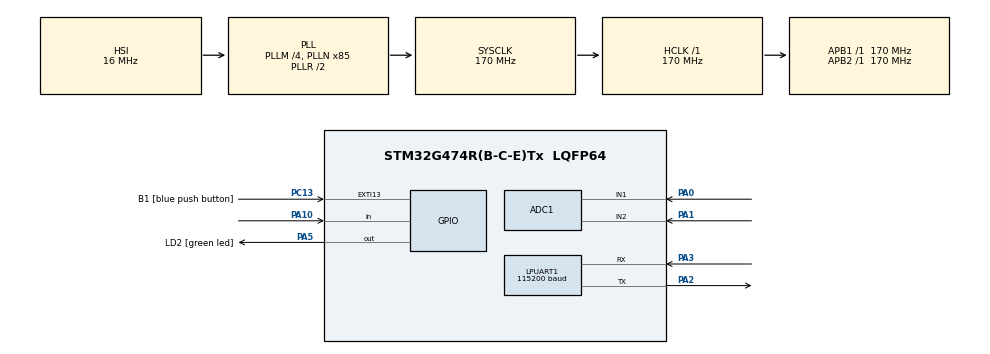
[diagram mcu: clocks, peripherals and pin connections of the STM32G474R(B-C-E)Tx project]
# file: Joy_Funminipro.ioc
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ADC1.Channel-0\#ChannelRegularConversion=ADC_CHANNEL_1
ADC1.Channel-1\#ChannelRegularConversion=ADC_CHANNEL_2
ADC1.ContinuousConvMode=ENABLE
ADC1.DMAContinuousRequests=ENABLE
ADC1.NbrOfConversion=2
ADC1.NbrOfConversionFlag=1
ADC1.OffsetNumber-0\#ChannelRegularConversion=ADC_OFFSET_NONE
ADC1.OffsetNumber-1\#ChannelRegularConversion=ADC_OFFSET_NONE
ADC1.Rank-0\#ChannelRegularConversion=1
ADC1.Rank-1\#ChannelRegularConversion=2
ADC1.SamplingTime-0\#ChannelRegularConversion=ADC_SAMPLETIME_640CYCLES_5
ADC1.SamplingTime-1\#ChannelRegularConversion=ADC_SAMPLETIME_640CYCLES_5
ADC1.master=1
Dma.ADC1.0.Direction=DMA_PERIPH_TO_MEMORY
Dma.ADC1.0.EventEnable=DISABLE
Dma.ADC1.0.Instance=DMA1_Channel1
Dma.ADC1.0.MemDataAlignment=DMA_MDATAALIGN_HALFWORD
Dma.ADC1.0.MemInc=DMA_MINC_ENABLE
Dma.ADC1.0.Mode=DMA_CIRCULAR
Dma.ADC1.0.PeriphDataAlignment=DMA_PDATAALIGN_HALFWORD
Dma.ADC1.0.PeriphInc=DMA_PINC_DISABLE
Dma.ADC1.0.Polarity=HAL_DMAMUX_REQ_GEN_RISING
Dma.ADC1.0.Priority=DMA_PRIORITY_LOW
Dma.ADC1.0.RequestNumber=1
Dma.ADC1.0.SignalID=NONE
Dma.ADC1.0.SyncEnable=DISABLE
Dma.ADC1.0.SyncPolarity=HAL_DMAMUX_SYNC_NO_EVENT
Dma.ADC1.0.SyncRequestNumber=1
Dma.ADC1.0.SyncSignalID=NONE
Dma.LPUART1_RX.1.Direction=DMA_PERIPH_TO_MEMORY
Dma.LPUART1_RX.1.EventEnable=DISABLE
Dma.LPUART1_RX.1.Instance=DMA1_Channel2
Dma.LPUART1_RX.1.MemDataAlignment=DMA_MDATAALIGN_BYTE
Dma.LPUART1_RX.1.MemInc=DMA_MINC_ENABLE
Dma.LPUART1_RX.1.Mode=DMA_CIRCULAR
Dma.LPUART1_RX.1.PeriphDataAlignment=DMA_PDATAALIGN_BYTE
Dma.LPUART1_RX.1.PeriphInc=DMA_PINC_DISABLE
Dma.LPUART1_RX.1.Polarity=HAL_DMAMUX_REQ_GEN_RISING
Dma.LPUART1_RX.1.Priority=DMA_PRIORITY_VERY_HIGH
Dma.LPUART1_RX.1.RequestNumber=1
Dma.LPUART1_RX.1.SignalID=NONE
Dma.LPUART1_RX.1.SyncEnable=DISABLE
Dma.LPUART1_RX.1.SyncPolarity=HAL_DMAMUX_SYNC_NO_EVENT
Dma.LPUART1_RX.1.SyncRequestNumber=1
Dma.LPUART1_RX.1.SyncSignalID=NONE
Dma.LPUART1_TX.2.Direction=DMA_MEMORY_TO_PERIPH
Dma.LPUART1_TX.2.EventEnable=DISABLE
Dma.LPUART1_TX.2.Instance=DMA1_Channel3
Dma.LPUART1_TX.2.MemDataAlignment=DMA_MDATAALIGN_BYTE
Dma.LPUART1_TX.2.MemInc=DMA_MINC_ENABLE
Dma.LPUART1_TX.2.Mode=DMA_NORMAL
Dma.LPUART1_TX.2.PeriphDataAlignment=DMA_PDATAALIGN_BYTE
Dma.LPUART1_TX.2.PeriphInc=DMA_PINC_DISABLE
Dma.LPUART1_TX.2.Polarity=HAL_DMAMUX_REQ_GEN_RISING
Dma.LPUART1_TX.2.Priority=DMA_PRIORITY_VERY_HIGH
Dma.LPUART1_TX.2.RequestNumber=1
Dma.LPUART1_TX.2.SignalID=NONE
Dma.LPUART1_TX.2.SyncEnable=DISABLE
Dma.LPUART1_TX.2.SyncPolarity=HAL_DMAMUX_SYNC_NO_EVENT
Dma.LPUART1_TX.2.SyncRequestNumber=1
Dma.LPUART1_TX.2.SyncSignalID=NONE
Dma.Request0=ADC1
Dma.Request1=LPUART1_RX
Dma.Request2=LPUART1_TX
FREERTOS.Tasks01=defaultTask,24,3000,StartDefaultTask,As weak,NULL,Static,defaultTaskBuffer,defaultTaskControlBlock
FREERTOS.configENABLE_FPU=1
IWDG.Reload=2499
LPUART1.BaudRate=115200
Mcu.Family=STM32G4
Mcu.Name=STM32G474R(B-C-E)Tx
Mcu.Package=LQFP64
NVIC.DMA1_Channel1_IRQn=true\:5\:0\:false\:false\:true\:true\:false\:true\:true
NVIC.DMA1_Channel2_IRQn=true\:5\:0\:false\:false\:true\:true\:false\:true\:true
NVIC.DMA1_Channel3_IRQn=true\:5\:0\:false\:false\:true\:true\:false\:true\:true
NVIC.EXTI15_10_IRQn=true\:5\:0\:false\:false\:true\:true\:true\:true\:true
NVIC.LPUART1_IRQn=true\:5\:0\:false\:false\:true\:true\:true\:true\:true
NVIC.PriorityGroup=NVIC_PRIORITYGROUP_4
PA0.Mode=IN1-Single-Ended
PA0.Signal=ADC1_IN1
PA1.Mode=IN2-Single-Ended
PA1.Signal=ADC1_IN2
PA10.GPIO_PuPd=GPIO_PULLUP
PA10.Signal=GPIO_Input
PA13.GPIO_Label=T_SWDIO
PA13.Signal=SYS_JTMS-SWDIO
PA14.GPIO_Label=T_SWCLK
PA14.Signal=SYS_JTCK-SWCLK
PA2.GPIO_Mode=GPIO_MODE_AF_PP
PA2.GPIO_PuPd=GPIO_NOPULL
PA2.GPIO_Speed=GPIO_SPEED_FREQ_LOW
PA2.Mode=Asynchronous
PA2.Signal=LPUART1_TX
PA3.GPIO_Mode=GPIO_MODE_AF_PP
PA3.GPIO_PuPd=GPIO_NOPULL
PA3.GPIO_Speed=GPIO_SPEED_FREQ_LOW
PA3.Mode=Asynchronous
PA3.Signal=LPUART1_RX
PA5.GPIO_Label=LD2 [green led]
PA5.Signal=GPIO_Output
PB3.GPIO_Label=T_SWO
PB3.Signal=SYS_JTDO-SWO
PC13.GPIO_Label=B1 [blue push button]
PC13.Signal=GPXTI13
PC14-OSC32_IN.GPIO_Label=RCC_OSC32_IN
PC14-OSC32_IN.Signal=RCC_OSC32_IN
PC15-OSC32_OUT.GPIO_Label=RCC_OSC32_OUT
PC15-OSC32_OUT.Signal=RCC_OSC32_OUT
PF0-OSC_IN.GPIO_Label=RCC_OSC_IN
PF0-OSC_IN.Signal=RCC_OSC_IN
PF1-OSC_OUT.GPIO_Label=RCC_OSC_OUT
PF1-OSC_OUT.Signal=RCC_OSC_OUT
ProjectManager.HeapSize=0x200
ProjectManager.StackSize=0x400
ProjectManager.TargetToolchain=STM32CubeIDE
RCC.ADC12Freq_Value=170000000
RCC.ADC345Freq_Value=170000000
RCC.AHBFreq_Value=170000000
RCC.APB1Freq_Value=170000000
RCC.APB1TimFreq_Value=170000000
RCC.APB2Freq_Value=170000000
RCC.APB2TimFreq_Value=170000000
RCC.CortexFreq_Value=170000000
RCC.EXTERNAL_CLOCK_VALUE=12288000
RCC.HCLKFreq_Value=170000000
RCC.HSE_VALUE=24000000
RCC.HSI48_VALUE=48000000
RCC.HSI_VALUE=16000000
RCC.LSE_VALUE=32768
RCC.PLLM=RCC_PLLM_DIV4
RCC.PLLN=85
RCC.RTCClockSelection=RCC_RTCCLKSOURCE_LSE
RCC.SYSCLKFreq_VALUE=170000000
RCC.SYSCLKSource=RCC_SYSCLKSOURCE_PLLCLK
RCC.USBFreq_Value=170000000
RCC.VCOOutputFreq_Value=340000000
VP_FREERTOS_VS_CMSIS_V2.Mode=CMSIS_V2
VP_IWDG_VS_IWDG.Mode=IWDG_Activate
VP_SYS_VS_DBSignals.Mode=DisableDeadBatterySignals
board=NUCLEO-G474RE

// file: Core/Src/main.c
/* USER CODE BEGIN Header */
/**
  ******************************************************************************
  * @file           : main.c
  * @brief          : Main program body
  ******************************************************************************
  * @attention
  *
  * Copyright (c) 2024 STMicroelectronics.
  * All rights reserved.
  *
  * This software is licensed under terms that can be found in the LICENSE file
  * in the root directory of this software component.
  * If no LICENSE file comes with this software, it is provided AS-IS.
  *
  ******************************************************************************
  */
/* USER CODE END Header */
#include "main.h"
#include "cmsis_os.h"
#include "adc.h"
#include "dma.h"
#include "iwdg.h"
#include "usart.h"
#include "gpio.h"

/* USER CODE BEGIN Includes */
#include <rcl/rcl.h>
#include <rcl/error_handling.h>
#include <rclc/rclc.h>
#include <rclc/executor.h>
#include <uxr/client/transport.h>
#include <rmw_microxrcedds_c/config.h>
#include <rmw_microros/rmw_microros.h>
#include <math.h>
#include <geometry_msgs/msg/twist.h>
#include <fun5mini_interfaces/srv/eat_call.h>

/* USER CODE END Includes */

/* USER CODE BEGIN PM */
#define RCSOFTCHECK(fn) if (fn != RCL_RET_OK) {};
/* USER CODE END PM */

/* USER CODE BEGIN PV */
rcl_init_options_t init_options;
rclc_support_t support;
rcl_allocator_t allocator;
rcl_node_t node;
rcl_timer_t timer;
rclc_executor_t executor;

/* Service Client*/
rcl_client_t eat_client;

/* pub */
rcl_publisher_t cmdvel_publisher;

/* Massage */
geometry_msgs__msg__Twist twist_msg;

fun5mini_interfaces__srv__EatCall_Request eat_request;

/* Start Joy Parameter */
uint16_t ADC_RawRead[200] = { 0 };
uint16_t x_axis = 0;
uint16_t y_axis = 0;

float linear_velocity = 0.0f;
float angular_velocity = 0.0f;

/* button */
GPIO_PinState bButtonState = GPIO_PIN_RESET;
GPIO_PinState bPrevButton = GPIO_PIN_RESET;

/* End Joy Parameter */

/* USER CODE END PV */

void SystemClock_Config(void);
void MX_FREERTOS_Init(void);
/* USER CODE BEGIN PFP */

/* Start MicroRos Function*/
bool cubemx_transport_open(struct uxrCustomTransport *transport);
bool cubemx_transport_close(struct uxrCustomTransport *transport);
size_t cubemx_transport_write(struct uxrCustomTransport *transport, const uint8_t *buf, size_t len, uint8_t *err);
size_t cubemx_transport_read(struct uxrCustomTransport *transport, uint8_t *buf, size_t len, int timeout, uint8_t *err);

void* microros_allocate(size_t size, void *state);
void microros_deallocate(void *pointer, void *state);
void* microros_reallocate(void *pointer, size_t size, void *state);
void* microros_zero_allocate(size_t number_of_elements, size_t size_of_element, void *state);
/* End MicroRos Function*/

/* Start my function */

void ReadADC_AVERAGE();
void SentCMDVEL();

/* End my function*/

/* USER CODE END PFP */

/* USER CODE BEGIN 0 */
void timer_callback(rcl_timer_t *timer, int64_t last_call_time) {
	if (timer != NULL) {
		/* Code here*/
		ReadADC_AVERAGE();
		SentCMDVEL();

		HAL_IWDG_Refresh(&hiwdg);
	}
}

void StartDefaultTask(void *argument)
{
  /* USER CODE BEGIN 5 */

  // micro-ROS configuration

  rmw_uros_set_custom_transport(
    true,
    (void *) &hlpuart1,
    cubemx_transport_open,
    cubemx_transport_close,
    cubemx_transport_write,
    cubemx_transport_read);

  rcl_allocator_t freeRTOS_allocator = rcutils_get_zero_initialized_allocator();
  freeRTOS_allocator.allocate = microros_allocate;
  freeRTOS_allocator.deallocate = microros_deallocate;
  freeRTOS_allocator.reallocate = microros_reallocate;
  freeRTOS_allocator.zero_allocate =  microros_zero_allocate;

  if (!rcutils_set_default_allocator(&freeRTOS_allocator)) {
      printf("Error on default allocators (line %d)\n", __LINE__);
  }

  // micro-ROS app
  allocator = rcl_get_default_allocator();

  //create init_options
  init_options = rcl_get_zero_initialized_init_options();
  RCSOFTCHECK(rcl_init_options_init(&init_options, allocator));
  RCSOFTCHECK(rcl_init_options_set_domain_id(&init_options, 26)); //Set Domain ID

  //create init_options
  rclc_support_init_with_options(
  			&support, 0,
  			NULL,
  			&init_options,
  			&allocator
  	);

  // create node
  	rclc_node_init_default(
  			&node,
  			"cubemx_node",
  			"ling",
  			&support
  	); //Node name

  	// create cmd_vel publisher
  	rclc_publisher_init_default(
  			&cmdvel_publisher,
  			&node,
  			ROSIDL_GET_MSG_TYPE_SUPPORT(geometry_msgs, msg, Twist),
  			"cmd_vel"
  		);

  	rclc_client_init_default(
  			&eat_client,
  			&node,
  			ROSIDL_GET_SRV_TYPE_SUPPORT(fun5mini_interfaces, srv, EatCall),
  			"call_eat"
  		);

  	// create Timer
  	rclc_timer_init_default(
  			&timer, &support,
  			RCL_MS_TO_NS(10),
  			timer_callback
  		);

  	// create executer
  	executor = rclc_executor_get_zero_initialized_executor();
  	rclc_executor_init(&executor, &support.context, 1, &allocator);
  	rclc_executor_add_timer(&executor, &timer);
  	rclc_executor_spin(&executor); //ต้องเรียกก่อนถึงจะเริ่มทำงาน

  for(;;)
  {
    osDelay(10);
  }
  /* USER CODE END 5 */
}
/* USER CODE END 0 */

int main(void)
{

  /* MCU Configuration--------------------------------------------------------*/

  /* Reset of all peripherals, Initializes the Flash interface and the Systick. */
  HAL_Init();

  /* Configure the system clock */
  SystemClock_Config();

  /* Initialize all configured peripherals */
  MX_GPIO_Init();
  MX_DMA_Init();
  MX_LPUART1_UART_Init();
  MX_ADC1_Init();
  MX_IWDG_Init();
  /* USER CODE BEGIN 2 */
  HAL_ADCEx_Calibration_Start(&hadc1, ADC_SINGLE_ENDED);
  HAL_ADC_Start_DMA(&hadc1, ADC_RawRead, 200);
  /* USER CODE END 2 */

  /* Init scheduler */
  osKernelInitialize();

  /* Call init function for freertos objects (in cmsis_os2.c) */
  MX_FREERTOS_Init();

  /* Start scheduler */
  osKernelStart();

  /* We should never get here as control is now taken by the scheduler */

  /* Infinite loop */
  while (1)
  {

  }
}

void SystemClock_Config(void)
{
  RCC_OscInitTypeDef RCC_OscInitStruct = {0};
  RCC_ClkInitTypeDef RCC_ClkInitStruct = {0};

  /** Configure the main internal regulator output voltage
  */
  HAL_PWREx_ControlVoltageScaling(PWR_REGULATOR_VOLTAGE_SCALE1_BOOST);

  /** Initializes the RCC Oscillators according to the specified parameters
  * in the RCC_OscInitTypeDef structure.
  */
  RCC_OscInitStruct.OscillatorType = RCC_OSCILLATORTYPE_HSI|RCC_OSCILLATORTYPE_LSI;
  RCC_OscInitStruct.HSIState = RCC_HSI_ON;
  RCC_OscInitStruct.HSICalibrationValue = RCC_HSICALIBRATION_DEFAULT;
  RCC_OscInitStruct.LSIState = RCC_LSI_ON;
  RCC_OscInitStruct.PLL.PLLState = RCC_PLL_ON;
  RCC_OscInitStruct.PLL.PLLSource = RCC_PLLSOURCE_HSI;
  RCC_OscInitStruct.PLL.PLLM = RCC_PLLM_DIV4;
  RCC_OscInitStruct.PLL.PLLN = 85;
  RCC_OscInitStruct.PLL.PLLP = RCC_PLLP_DIV2;
  RCC_OscInitStruct.PLL.PLLQ = RCC_PLLQ_DIV2;
  RCC_OscInitStruct.PLL.PLLR = RCC_PLLR_DIV2;
  if (HAL_RCC_OscConfig(&RCC_OscInitStruct) != HAL_OK)
  {
    Error_Handler();
  }

  /** Initializes the CPU, AHB and APB buses clocks
  */
  RCC_ClkInitStruct.ClockType = RCC_CLOCKTYPE_HCLK|RCC_CLOCKTYPE_SYSCLK
                              |RCC_CLOCKTYPE_PCLK1|RCC_CLOCKTYPE_PCLK2;
  RCC_ClkInitStruct.SYSCLKSource = RCC_SYSCLKSOURCE_PLLCLK;
  RCC_ClkInitStruct.AHBCLKDivider = RCC_SYSCLK_DIV1;
  RCC_ClkInitStruct.APB1CLKDivider = RCC_HCLK_DIV1;
  RCC_ClkInitStruct.APB2CLKDivider = RCC_HCLK_DIV1;

  if (HAL_RCC_ClockConfig(&RCC_ClkInitStruct, FLASH_LATENCY_4) != HAL_OK)
  {
    Error_Handler();
  }
}

/* USER CODE BEGIN 4 */

void ReadADC_AVERAGE() {
	uint32_t temp_1 = 0;
	uint32_t temp_2 = 0;
	for (int i = 0; i < 200; i++) {
		if (i % 2 == 0) {
			temp_1 += ADC_RawRead[i];
		} else if (i % 2 == 1) {
			temp_2 += ADC_RawRead[i];
		}
	}
	x_axis = (temp_1 / 100);
	y_axis = (temp_2 / 100);
}

void SentCMDVEL(){
	/* Call Velocity */
	linear_velocity =  (y_axis - 2048) / 2048.0f;  // Normalize -1.0 to 1.0
	angular_velocity = -1.0f * (x_axis - 2048) / 2048.0f; // Normalize -1.0 to 1.0

	/* Check DEADZONE*/
	if (fabs(linear_velocity) < 0.015f) {
		linear_velocity = 0.0f;
	}

	if (fabs(angular_velocity) < 0.015f) {
		angular_velocity = 0.0f;
	}

	twist_msg.linear.x = linear_velocity;
	twist_msg.angular.z = angular_velocity;

	RCSOFTCHECK(rcl_publish(&cmdvel_publisher, &twist_msg, NULL));
}

void CheckButtonB() {
    bButtonState = HAL_GPIO_ReadPin(GPIOA, GPIO_PIN_10);

    if (bButtonState == GPIO_PIN_RESET && bPrevButton == GPIO_PIN_SET) {

    	fun5mini_interfaces__srv__EatCall_Request__init(&eat_request);

    	eat_request.call = true;

    	int64_t sequence_number;
        RCSOFTCHECK(rcl_send_request(&eat_client, &eat_request, &sequence_number));
    }
    HAL_Delay(10);

    bPrevButton = bButtonState;
}
/* USER CODE END 4 */

void Error_Handler(void)
{
  __disable_irq();
  while (1)
  {
  }
}
